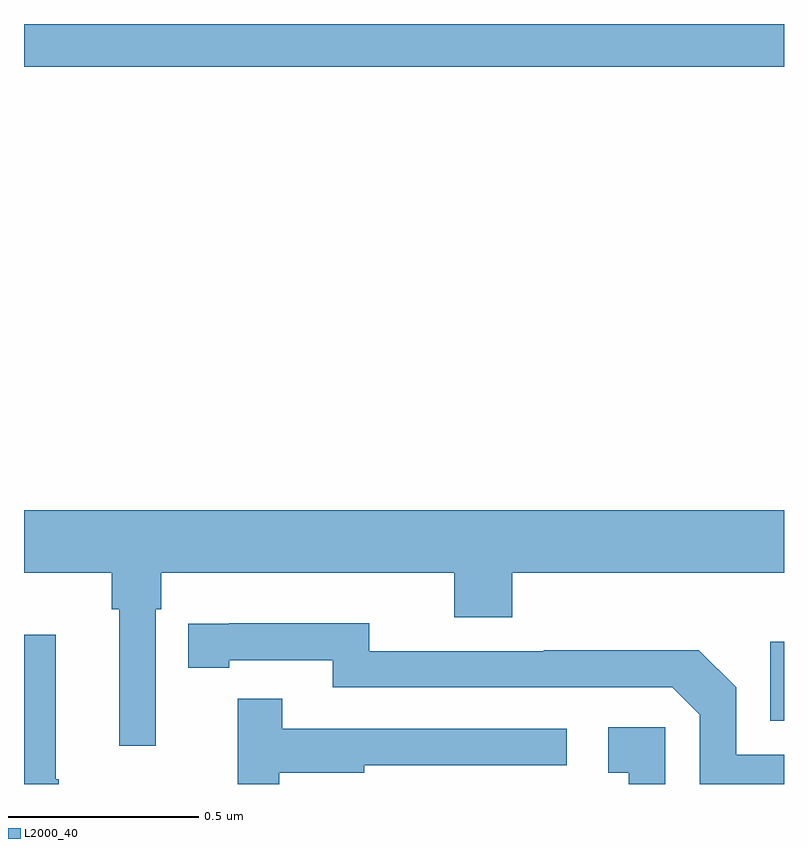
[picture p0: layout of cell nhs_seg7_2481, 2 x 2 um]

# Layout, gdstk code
import gdstk
lib = gdstk.Library(unit=1e-6, precision=1e-09)
def R(c, l, rs):  # rectangles x0, y0, x1, y1
    for r in rs: c.add(gdstk.rectangle(r[:2], r[2:], *l))
def P(c, l, *ps):  # polygons
    for p in ps: c.add(gdstk.Polygon(p, *l))
L2000_40 = (2000, 40)

nhs_seg7_2481 = lib.new_cell('nhs_seg7_2481')
R(nhs_seg7_2481, L2000_40, [(146.964,1060.167,147,1060.375), (145,1061.888,147,1062)])
P(nhs_seg7_2481, L2000_40, [(145.347,1060.46),(145.361,1060.46),(145.361,1060.556),(146.132,1060.556),(146.132,1060.439),(146.285,1060.439),(146.285,1060.556),(147,1060.556),(147,1060.72),(145,1060.72),(145,1060.556),(145.231,1060.556),(145.231,1060.46),(145.25,1060.46),(145.25,1060.101),(145.347,1060.101)],
  [(147,1060.077),(146.874,1060.077),(146.874,1060.254),(146.776,1060.352),(146.368,1060.352),(146.368,1060.35),(145.908,1060.35),(145.908,1060.423),(145.54,1060.423),(145.54,1060.422),(145.432,1060.422),(145.432,1060.306),(145.54,1060.306),(145.54,1060.326),(145.812,1060.326),(145.812,1060.254),(146.706,1060.254),(146.778,1060.182),(146.778,1060),(147,1060)],
  [(145.092,1060.013),(145.084,1060.013),(145.084,1060.393),(145,1060.393),(145,1060),(145.092,1060)],
  [(145.672,1060.03),(145.895,1060.03),(145.895,1060.05),(146.428,1060.05),(146.428,1060.146),(145.679,1060.146),(145.679,1060.225),(145.562,1060.225),(145.562,1060),(145.672,1060)],
  [(146.688,1060.15),(146.538,1060.15),(146.538,1060.029),(146.591,1060.029),(146.591,1060),(146.688,1060)])

lib.write_gds('nhs_seg7_2481.gds')
